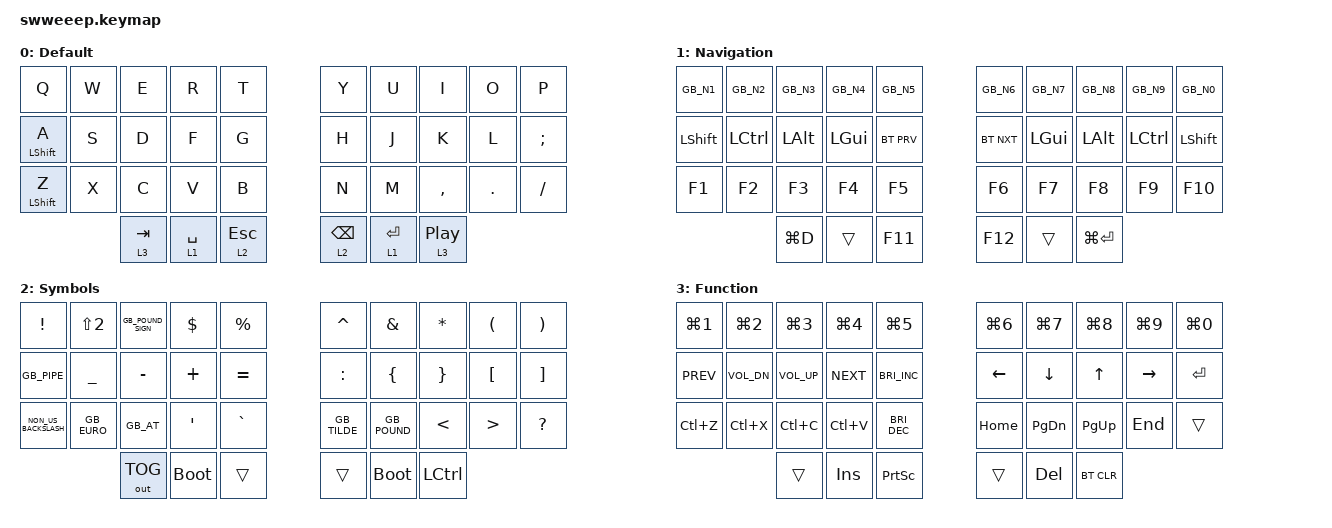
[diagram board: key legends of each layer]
#include <behaviors.dtsi>
#include "keys_en_gb.h"
#include <dt-bindings/zmk/bt.h>
#include <dt-bindings/zmk/keys.h>
#include <dt-bindings/zmk/outputs.h>

#define DEFAULT 0
#define NAV     1
#define SYM     2
#define FUNC    3
#define MEDIA   4
#define MOUSE   5
#define WINNAV  6

&caps_word {
    continue-list = <UNDERSCORE MINUS>;
};

/ {
    combos {
        compatible = "zmk,combos";

        combo_esc {
            timeout-ms = <50>;
            key-positions = <13 14>;
            bindings = <&kp ESC>;
        };

        combo_undo {
            timeout-ms = <50>;
            key-positions = <20 21>;
            bindings = <&kp LC(Z)>;
        };

        combo_bsp {
            bindings = <&kp BACKSPACE>;
            key-positions = <8 9>;
        };

        combo_cc {
            bindings = <&kp LC(C)>;
            key-positions = <21 22>;
        };

        combo_bb {
            bindings = <&kp LC(B)>;
            key-positions = <23 24>;
        };

        combo_ww {
            bindings = <&kp LC(W)>;
            key-positions = <1 2>;
        };

        combo_tab {
            bindings = <&kp TAB>;
            key-positions = <0 1>;
        };
    };
};

/ {
    behaviors {
        lt_hold: lt_hold {
            compatible = "zmk,behavior-hold-tap";
            label = "LT_HOLD";
            bindings =
                <&mo>,
                <&kp>;

            flavor = "hold-preferred";
            #binding-cells = <2>;
            tapping-term-ms = <250>;
            quick-tap-ms = <250>;
        };
    };

    keymap {
        compatible = "zmk,keymap";

        default_layer {
            label = "Default";
            bindings = <
       &kp Q  &kp W  &kp E           &kp R             &kp T                                 &kp Y             &kp U                    &kp I    &kp O     &kp P
&mt LSHIFT A  &kp S  &kp D           &kp F             &kp G                                 &kp H             &kp J                    &kp K    &kp L  &kp SEMI
&mt LSHIFT Z  &kp X  &kp C           &kp V             &kp B                                 &kp N             &kp M                &kp COMMA  &kp DOT  &kp FSLH
                            &lt_hold 3 TAB  &lt_hold 1 SPACE  &lt_hold 2 ESC  &lt_hold 2 BACKSPACE  &lt_hold 1 ENTER  &lt_hold 3 C_PLAY_PAUSE
            >;
        };

        raise {
            bindings = <
     &kp GB_N1  &kp GB_N2     &kp GB_N3     &kp GB_N4   &kp GB_N5            &kp GB_N6     &kp GB_N7      &kp GB_N8  &kp GB_N9       &kp GB_N0
&kp LEFT_SHIFT  &kp LCTRL  &kp LEFT_ALT  &kp LEFT_GUI  &bt BT_PRV           &bt BT_NXT  &kp LEFT_GUI   &kp LEFT_ALT  &kp LCTRL  &kp LEFT_SHIFT
        &kp F1     &kp F2        &kp F3        &kp F4      &kp F5               &kp F6        &kp F7         &kp F8     &kp F9         &kp F10
                                            &kp LG(D)      &trans  &kp F11     &kp F12        &trans  &kp LG(ENTER)
            >;

            label = "Navigation";
        };

        sym_layer {
            label = "Symbols";
            bindings = <
            &kp EXCL      &kp LS(N2)  &kp GB_POUND_SIGN      &kp DLLR    &kp PRCNT          &kp CARET        &kp AMPS      &kp ASTRK  &kp LEFT_PARENTHESIS  &kp RIGHT_PARENTHESIS
            &kp GB_PIPE  &kp UNDERSCORE          &kp MINUS      &kp PLUS    &kp EQUAL          &kp COLON  &kp LEFT_BRACE       &kp RBRC      &kp LEFT_BRACKET      &kp RIGHT_BRACKET
&kp NON_US_BACKSLASH          &kp GB_EURO        &kp GB_AT       &kp SQT    &kp GRAVE          &kp GB_TILDE        &kp GB_POUND  &kp LESS_THAN      &kp GREATER_THAN           &kp QUESTION
                                                         &out OUT_TOG  &bootloader  &trans     &trans     &bootloader      &kp LCTRL
            >;
        };

        func_layer {
            label = "Function";
            bindings = <
&kp LG(N1)    &kp LG(N2)    &kp LG(N3)  &kp LG(N4)     &kp LG(N5)                   &kp LG(N6)     &kp LG(N7)   &kp LG(N8)  &kp LG(N9)  &kp LG(N0)
&kp K_PREV  &kp C_VOL_DN  &kp C_VOL_UP  &kp K_NEXT  &kp C_BRI_INC                     &kp LEFT       &kp DOWN       &kp UP   &kp RIGHT   &kp ENTER
 &kp LC(Z)     &kp LC(X)     &kp LC(C)   &kp LC(V)  &kp C_BRI_DEC                     &kp HOME  &kp PAGE_DOWN  &kp PAGE_UP     &kp END      &trans
                                            &trans     &kp INSERT  &kp PRINTSCREEN      &trans        &kp DEL   &bt BT_CLR
            >;
        };
    };
};
